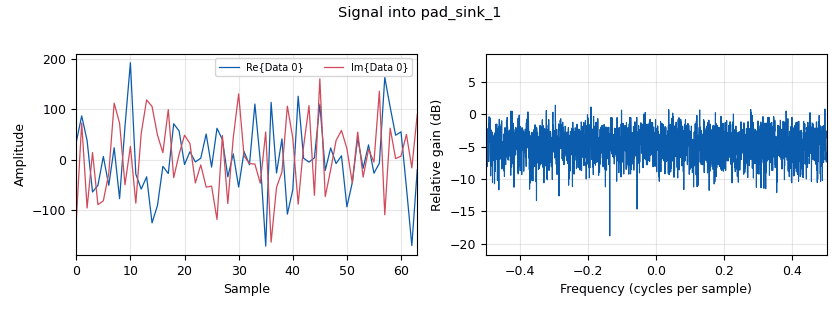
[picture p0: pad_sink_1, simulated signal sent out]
<?xml version='1.0' encoding='utf-8'?>
<?grc format='1' created='3.7.8'?>
<flow_graph>
<block>
<key>options</key>
<param><key>id</key><value>b_noise_dB_cc</value></param>
<param><key>author</key><value>Homero Ortega Boada. Universidad Industrial de Santander</value></param>
<param><key>category</key><value>comdiguis</value></param>
<param><key>description</key><value>Genera ruido blanco gaussiano en version de envolvente compleja, pidiendo como entrada el valor de la PSD, osea, No en dB. Parametros usados: samp_rate (Hz) es la frecuencia de muestreo de la senal que genera este bloque, NoDB (dB) es la altura de la PSD que como se sabe, para el ruido blanco es una constante</value></param>
<param><key>generate_options</key><value>hb</value></param>
<param><key>title</key><value>b_noise_dB_cc</value></param>
</block>
<block>
<key>variable</key>
<param><key>id</key><value>No</value></param>
<param><key>value</key><value>math.pow(10.,(NodB)/10.)</value></param>
</block>
<block>
<key>variable</key>
<param><key>id</key><value>P</value></param>
<param><key>_enabled</key><value>0</value></param>
<param><key>value</key><value>No*samp_rate</value></param>
</block>
<block>
<key>variable</key>
<param><key>id</key><value>P</value></param>
<param><key>_enabled</key><value>0</value></param>
<param><key>value</key><value>math.pow(10.,k)</value></param>
</block>
<block>
<key>variable</key>
<param><key>id</key><value>P</value></param>
<param><key>value</key><value>No*10000</value></param>
</block>
<block>
<key>variable</key>
<param><key>id</key><value>Vrms</value></param>
<param><key>value</key><value>math.sqrt(P)</value></param>
</block>
<block>
<key>variable</key>
<param><key>id</key><value>k</value></param>
<param><key>_enabled</key><value>0</value></param>
<param><key>value</key><value>4.+math.log(No,10)</value></param>
</block>
<block>
<key>parameter</key>
<param><key>id</key><value>NodB</value></param>
<param><key>label</key><value>NodB</value></param>
<param><key>value</key><value>0</value></param>
</block>
<block>
<key>analog_noise_source_x</key>
<param><key>id</key><value>analog_noise_source_x_0</value></param>
<param><key>amp</key><value>Vrms</value></param>
<param><key>noise_type</key><value>analog.GR_GAUSSIAN</value></param>
<param><key>type</key><value>complex</value></param>
<param><key>seed</key><value>0</value></param>
</block>
<block>
<key>import</key>
<param><key>id</key><value>import_0_0</value></param>
<param><key>import</key><value>import math</value></param>
</block>
<block>
<key>pad_sink</key>
<param><key>id</key><value>pad_sink_1</value></param>
<param><key>type</key><value>complex</value></param>
<param><key>label</key><value>out</value></param>
</block>
<connection><source_block_id>analog_noise_source_x_0</source_block_id><sink_block_id>pad_sink_1</sink_block_id><source_key>0</source_key><sink_key>0</sink_key></connection>
</flow_graph>
